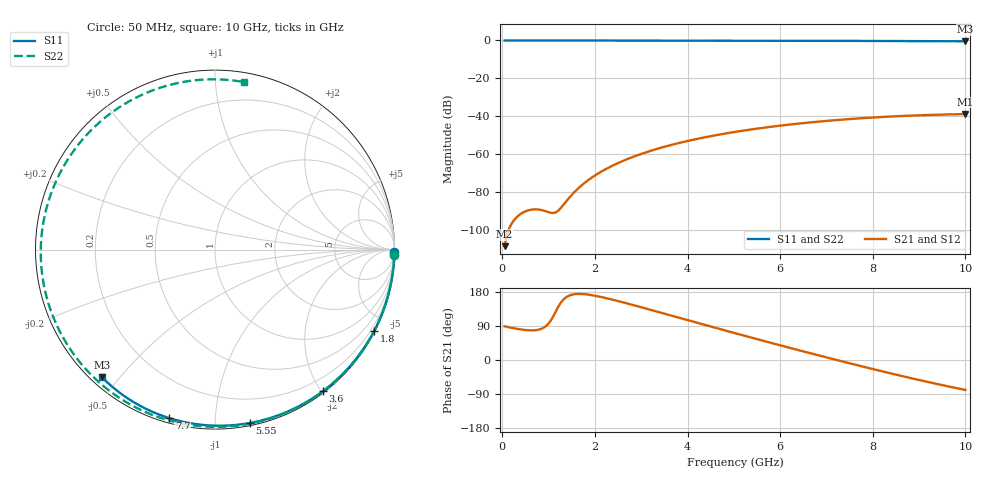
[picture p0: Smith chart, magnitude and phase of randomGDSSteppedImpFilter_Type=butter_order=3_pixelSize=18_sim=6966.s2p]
! freq	dB(S11)	phase(S11)	dB(S12)	phase(S12)
!  dB(S21)	phase(S21)	dB(S22)	phase(S22)
!S-par simulation data
#  GHz  S  DB  R 50
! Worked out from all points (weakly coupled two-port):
!   200 points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, 50 MHz to 10 GHz, reference 50 ohm
!   highest |S21| = -38.76 dB at 10 GHz (marker M1); lowest = -108.3 dB at 50 MHz (marker M2)
!   lowest |S11| = -0.4 dB at 10 GHz (marker M3), VSWR 38.99, Z = 1.54 - j22.5 ohm
!   |S11| at or under -10 dB: nowhere
!   |S22| runs from -0.5 to 0.0 dB; largest |S21 - S12| = 0
!   S11 on the Smith chart (normalised r, x): 50 MHz: open; 1.8 GHz: 0.04, -4.17; 3.6 GHz: 0.02, -2.02; 5.55 GHz: 0.02, -1.22; 7.7 GHz: 0.02, -0.77; 10 GHz: 0.03, -0.45
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0.05  -0.00 -0.8  -108.30 88.9  -108.30 88.9  -0.00 -1.9
0.4  -0.01 -6.1  -91.27 80.7  -91.27 80.7  -0.02 -14.7
0.75  -0.01 -11.3  -88.94 79.2  -88.94 79.2  -0.04 -27.4
1.15  -0.02 -17.3  -90.53 126.8  -90.53 126.8  -0.05 -41.6
1.55  -0.03 -23.3  -80.01 173.5  -80.01 173.5  -0.07 -55.4
1.75  -0.03 -26.2  -75.53 173.9  -75.53 173.9  -0.08 -62.1
1.8  -0.03 -27.0  -74.56 173.4  -74.56 173.4  -0.08 -63.7
2.1  -0.04 -31.4  -69.59 167.2  -69.59 167.2  -0.09 -73.5
2.5  -0.05 -37.2  -64.54 155.5  -64.54 155.5  -0.10 -86.0
2.95  -0.06 -43.6  -60.16 140.9  -60.16 140.9  -0.12 -99.4
3.4  -0.07 -49.9  -56.66 125.7  -56.66 125.7  -0.13 -112.3
3.6  -0.07 -52.7  -55.31 118.9  -55.31 118.9  -0.14 -117.8
4.35  -0.09 -63.0  -51.10 93.4  -51.10 93.4  -0.17 -137.6
5.05  -0.11 -72.3  -48.05 69.9  -48.05 69.9  -0.20 -155.1
5.55  -0.13 -78.7  -46.25 53.4  -46.25 53.4  -0.23 -167.3
6.1  -0.15 -85.7  -44.57 35.5  -44.57 35.5  -0.26 179.5
6.7  -0.18 -93.1  -43.02 16.3  -43.02 16.3  -0.30 165.1
7.2  -0.21 -99.2  -41.94 0.6  -41.94 0.6  -0.33 153.0
7.7  -0.24 -105.1  -41.03 -14.8  -41.03 -14.8  -0.36 140.7
8.35  -0.29 -112.7  -40.09 -34.2  -40.09 -34.2  -0.39 124.4
9.2  -0.36 -122.5  -39.24 -58.3  -39.24 -58.3  -0.44 102.1
10  -0.45 -131.5  -38.76 -79.0  -38.76 -79.0  -0.47 80.3
